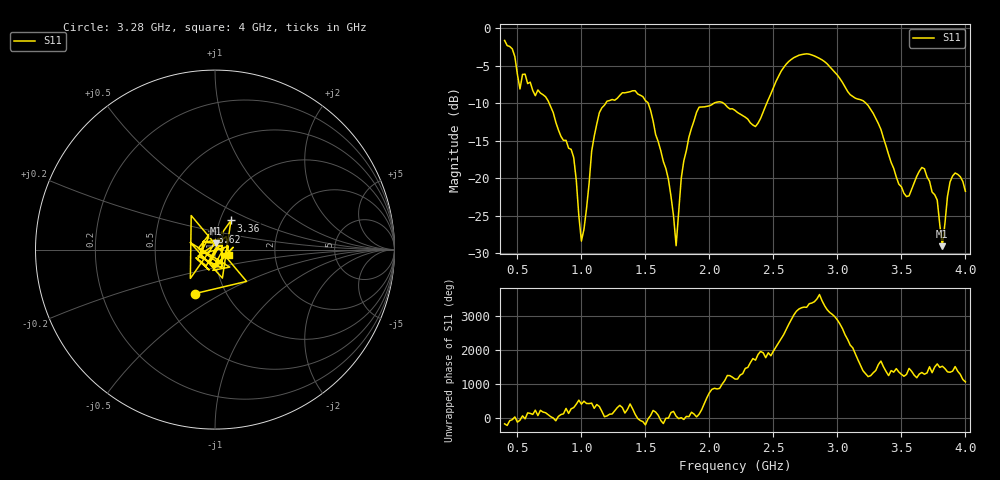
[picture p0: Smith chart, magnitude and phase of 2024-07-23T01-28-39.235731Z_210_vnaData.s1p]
!Created with skrf (http://scikit-rf.org).
# Hz S RI R 50.0
!freq ReS11 ImS11
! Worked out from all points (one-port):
!   181 points, 400 MHz to 4 GHz, reference 50 ohm
!   lowest |S11| = -29.0 dB at 3.82 GHz (marker M1), VSWR 1.07, Z = 50.6 + j3.5 ohm
!   |S11| at or under -10 dB: 747.8 MHz to 1.19 GHz (442.4 MHz wide, 45.7 % of centre); 1.521 GHz to 2.037 GHz (515.2 MHz wide, 29 % of centre); 3.223 GHz to end of sweep (the widest 3 of 4)
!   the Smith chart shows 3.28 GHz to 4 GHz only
!   S11 on the Smith chart (normalised r, x): 3.28 GHz: 0.71, -0.38; 3.36 GHz: 1.13, +0.38; 3.62 GHz: 0.94, +0.19; 4 GHz: 1.17, -0.07
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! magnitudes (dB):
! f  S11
! 400 MHz  -1.7
! 520 MHz  -8.1
! 720 MHz  -9.2
! 860 MHz  -15.0
! 940 MHz  -17.2
! 1 GHz  -28.3
! 1.08 GHz  -16.4
! 1.14 GHz  -11.3
! 1.3 GHz  -9.0
! 1.52 GHz  -9.9
! 1.68 GHz  -20.2
! 1.74 GHz  -29.0
! 1.76 GHz  -24.6
! 1.8 GHz  -17.7
! 1.92 GHz  -10.5
! 2.2 GHz  -11.0
! 2.36 GHz  -13.1
! 2.66 GHz  -3.9
! 3.1 GHz  -8.9
! 3.28 GHz  -11.4
! 3.36 GHz  -14.6
! 3.56 GHz  -22.3
! 3.62 GHz  -19.7
! 3.68 GHz  -18.7
! 3.78 GHz  -22.9
! 3.82 GHz  -29.0
! 3.88 GHz  -20.5
! 4 GHz  -21.7
